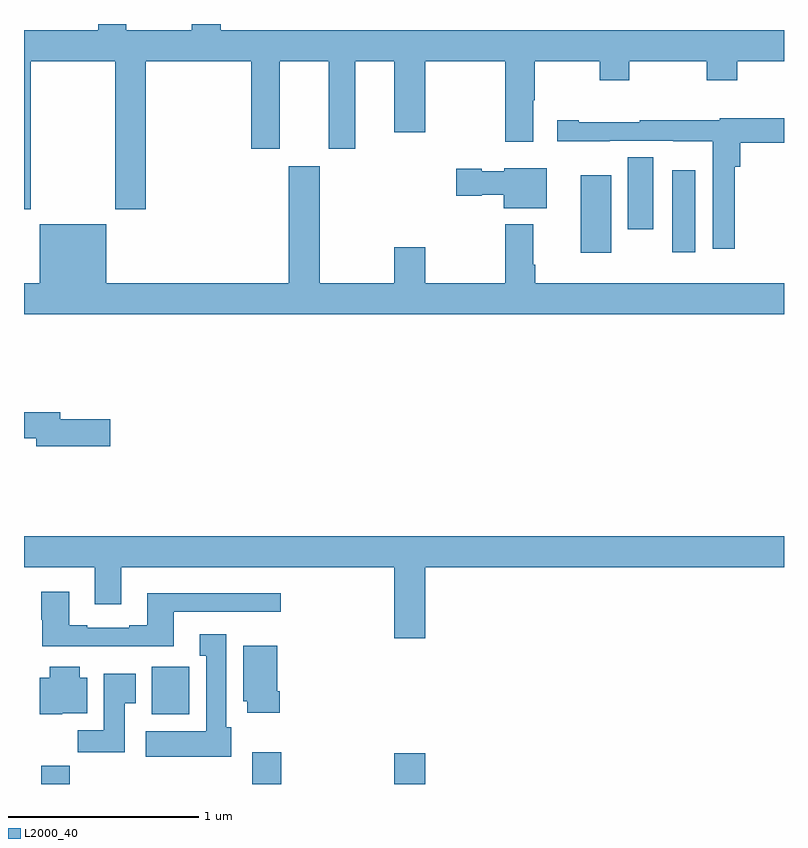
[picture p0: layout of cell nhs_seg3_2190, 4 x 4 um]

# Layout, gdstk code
import gdstk
lib = gdstk.Library(unit=1e-6, precision=1e-09)
def R(c, l, rs):  # rectangles x0, y0, x1, y1
    for r in rs: c.add(gdstk.rectangle(r[:2], r[2:], *l))
def P(c, l, *ps):  # polygons
    for p in ps: c.add(gdstk.Polygon(p, *l))
L2000_40 = (2000, 40)

nhs_seg3_2190 = lib.new_cell('nhs_seg3_2190')
R(nhs_seg3_2190, L2000_40, [(223.09,742.4,223.241,742.496), (224.201,742.4,224.354,742.567), (224.948,742.4,225.112,742.561), (223.673,742.766,223.869,743.017), (225.929,745.197,226.09,745.603), (226.412,745.2,226.534,745.63), (226.178,745.32,226.312,745.7)])
P(nhs_seg3_2190, L2000_40, [(223.035,746.204),(223.48,746.204),(223.48,745.425),(223.64,745.425),(223.64,746.204),(224.195,746.204),(224.195,745.743),(224.347,745.743),(224.347,746.204),(224.603,746.204),(224.603,745.743),(224.743,745.743),(224.743,746.204),(224.948,746.204),(224.948,745.83),(225.112,745.83),(225.112,746.204),(225.532,746.204),(225.532,745.779),(225.679,745.779),(225.679,746),(225.687,746),(225.687,746.204),(226.03,746.204),(226.03,746.105),(226.185,746.105),(226.185,746.204),(226.594,746.204),(226.594,746.105),(226.754,746.105),(226.754,746.204),(227,746.204),(227,746.368),(224.036,746.368),(224.036,746.4),(223.883,746.4),(223.883,746.368),(223.539,746.368),(223.539,746.4),(223.391,746.4),(223.391,746.368),(223,746.368),(223,745.425),(223.035,745.425)],
  [(226.742,745.649),(226.769,745.649),(226.769,745.774),(227,745.774),(227,745.903),(226.662,745.903),(226.662,745.894),(226.241,745.894),(226.241,745.884),(225.919,745.884),(225.919,745.894),(225.807,745.894),(225.807,745.784),(226.082,745.784),(226.082,745.785),(226.416,745.785),(226.416,745.784),(226.626,745.784),(226.626,745.218),(226.742,745.218)],
  [(227,745.036),(225.692,745.036),(225.692,745.132),(225.679,745.132),(225.679,745.345),(225.532,745.345),(225.532,745.036),(225.112,745.036),(225.112,745.225),(224.948,745.225),(224.948,745.036),(224.557,745.036),(224.557,745.651),(224.393,745.651),(224.393,745.036),(223.432,745.036),(223.432,745.345),(223.082,745.345),(223.082,745.036),(223,745.036),(223,744.872),(227,744.872)],
  [(225.751,745.642),(225.528,745.642),(225.528,745.624),(225.408,745.624),(225.408,745.637),(225.276,745.637),(225.276,745.495),(225.408,745.495),(225.408,745.502),(225.524,745.502),(225.524,745.43),(225.751,745.43)],
  [(223.453,744.32),(223.192,744.32),(223.192,744.356),(223,744.356),(223,744.22),(223.064,744.22),(223.064,744.178),(223.453,744.178)],
  [(225.112,743.54),(227,743.54),(227,743.704),(223,743.704),(223,743.54),(223.373,743.54),(223.373,743.346),(223.513,743.346),(223.513,743.54),(224.948,743.54),(224.948,743.166),(225.112,743.166)],
  [(223.789,743.307),(224.35,743.307),(224.35,743.404),(223.649,743.404),(223.649,743.236),(223.553,743.236),(223.553,743.223),(223.333,743.223),(223.333,743.236),(223.237,743.236),(223.237,743.413),(223.09,743.413),(223.09,743.265),(223.097,743.265),(223.097,743.126),(223.789,743.126)],
  [(224.092,742.698),(224.065,742.698),(224.065,743.188),(223.925,743.188),(223.925,743.075),(223.958,743.075),(223.958,742.678),(223.641,742.678),(223.641,742.544),(224.092,742.544)],
  [(224.345,742.888),(224.332,742.888),(224.332,743.128),(224.153,743.128),(224.153,742.836),(224.174,742.836),(224.174,742.776),(224.345,742.776)],
  [(223.2,742.772),(223.333,742.772),(223.333,742.96),(223.294,742.96),(223.294,743.017),(223.136,743.017),(223.136,742.96),(223.082,742.96),(223.082,742.766),(223.2,742.766)],
  [(223.531,742.825),(223.588,742.825),(223.588,742.981),(223.421,742.981),(223.421,742.684),(223.282,742.684),(223.282,742.566),(223.531,742.566)])

lib.write_gds('nhs_seg3_2190.gds')
